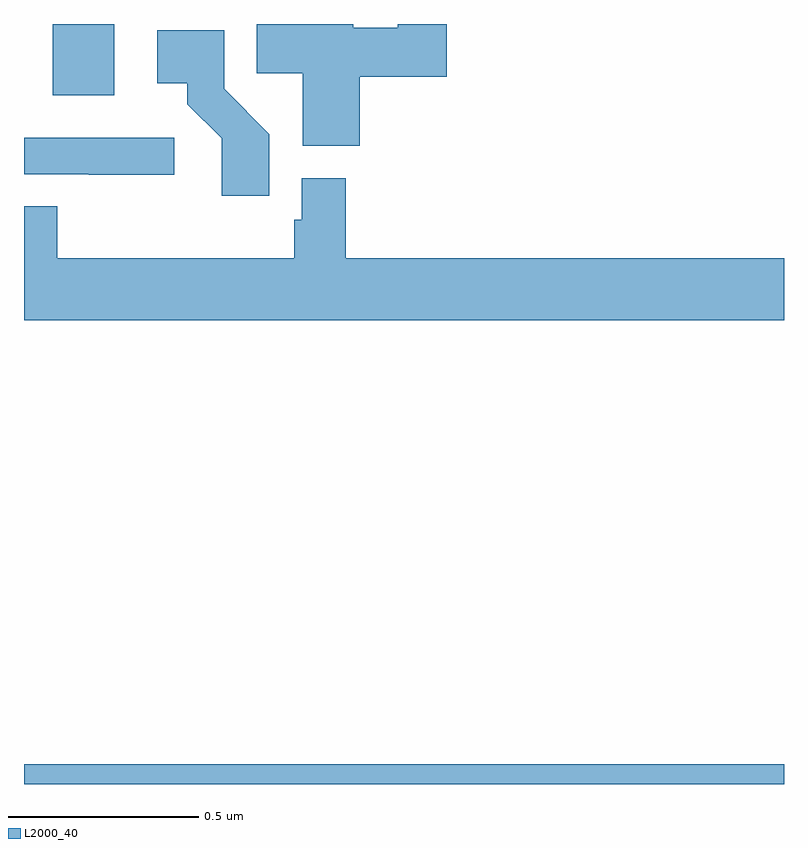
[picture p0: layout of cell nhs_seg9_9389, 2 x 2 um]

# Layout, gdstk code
import gdstk
lib = gdstk.Library(unit=1e-6, precision=1e-09)
def R(c, l, rs):  # rectangles x0, y0, x1, y1
    for r in rs: c.add(gdstk.rectangle(r[:2], r[2:], *l))
def P(c, l, *ps):  # polygons
    for p in ps: c.add(gdstk.Polygon(p, *l))
L2000_40 = (2000, 40)

nhs_seg9_9389 = lib.new_cell('nhs_seg9_9389')
R(nhs_seg9_9389, L2000_40, [(229,1228.5,231,1228.552), (229.076,1230.312,229.237,1230.5)])
P(nhs_seg9_9389, L2000_40, [(229.883,1230.361),(230.113,1230.361),(230.113,1230.5),(229.983,1230.5),(229.983,1230.49),(229.866,1230.49),(229.866,1230.5),(229.612,1230.5),(229.612,1230.37),(229.733,1230.37),(229.733,1230.179),(229.883,1230.179)],
  [(229.646,1230.21),(229.527,1230.329),(229.527,1230.484),(229.35,1230.484),(229.35,1230.344),(229.43,1230.344),(229.43,1230.289),(229.521,1230.199),(229.521,1230.048),(229.646,1230.048)],
  [(229.396,1230.201),(229,1230.201),(229,1230.105),(229.171,1230.105),(229.171,1230.103),(229.396,1230.103)],
  [(231,1229.884),(229.847,1229.884),(229.847,1230.094),(229.731,1230.094),(229.731,1229.985),(229.711,1229.985),(229.711,1229.884),(229.088,1229.884),(229.088,1230.02),(229,1230.02),(229,1229.72),(231,1229.72)])

lib.write_gds('nhs_seg9_9389.gds')
